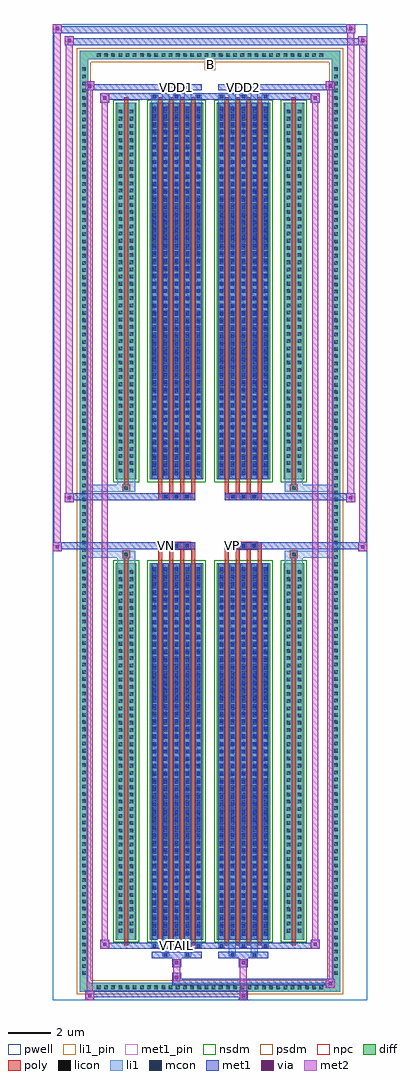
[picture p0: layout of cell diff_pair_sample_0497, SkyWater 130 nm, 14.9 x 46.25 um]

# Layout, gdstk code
import gdstk
lib = gdstk.Library(unit=1e-6, precision=5e-09)
def R(c, l, rs):  # rectangles x0, y0, x1, y1
    for r in rs: c.add(gdstk.rectangle(r[:2], r[2:], *l))
def A(c, l, x, y, w, h, nx, ny, dx, dy):  # array of equal rectangles
    R(c, l, [(x+i*dx, y+j*dy, x+i*dx+w, y+j*dy+h) for i in range(nx) for j in range(ny)])
def P(c, l, *ps):  # polygons
    for p in ps: c.add(gdstk.Polygon(p, *l))
pwell = (64, 44)
diff = (65, 20)
poly = (66, 20)
licon = (66, 44)
li1_pin = (67, 16)
li1 = (67, 20)
mcon = (67, 44)
met1_pin = (68, 16)
met1 = (68, 20)
via = (68, 44)
met2 = (69, 20)
nsdm = (93, 44)
psdm = (94, 20)
npc = (95, 20)

diff_pair_sample_0497 = lib.new_cell('diff_pair_sample_0497')
R(diff_pair_sample_0497, pwell, [(-7.45,-22.69,7.45,23.56), (-4.77,-20.88,-0.01,-0.8), (0.01,-20.88,4.77,-0.8), (-4.77,0.8,-0.01,20.88), (0.01,0.8,4.77,20.88)])
A(diff_pair_sample_0497, diff, -5.475, -22.29, 0.41, 0.41, 32, 2, 0.34, 44.17)
A(diff_pair_sample_0497, diff, -6.18, -21.625, 0.41, 0.41, 1, 127, 0, 0.34)
A(diff_pair_sample_0497, diff, 5.77, -21.625, 0.41, 0.41, 1, 127, 0, 0.34)
R(diff_pair_sample_0497, diff, [(-5.475,-22.29,5.475,-21.88), (-6.18,-21.625,-5.77,21.625), (5.77,-21.625,6.18,21.625), (-4.46,-19.835,-3.49,-1.985), (-2.85,-19.835,-0.32,-1.985), (0.32,-19.835,2.85,-1.985), (3.49,-19.835,4.46,-1.985), (-4.46,1.985,-3.49,19.835), (-2.85,1.985,-0.32,19.835), (0.32,1.985,2.85,19.835), (3.49,1.985,4.46,19.835), (-5.475,21.88,5.475,22.29)])
P(diff_pair_sample_0497, diff, [(6.18,22.29),(-6.18,22.29),(-6.18,-21.88),(-5.77,-21.88),(-5.77,21.88),(5.77,21.88),(5.77,-21.88),(-5.77,-21.88),(-6.18,-21.88),(-6.18,-22.29),(6.18,-22.29)])
A(diff_pair_sample_0497, poly, -2.46, -20.085, 0.19, 18.35, 4, 2, 0.52, 21.82)
A(diff_pair_sample_0497, poly, 0.71, -20.085, 0.19, 18.35, 4, 2, 0.52, 21.82)
A(diff_pair_sample_0497, poly, -2.46, -1.735, 0.19, 0.405, 4, 2, 0.52, 3.065)
A(diff_pair_sample_0497, poly, 0.71, -1.735, 0.19, 0.405, 4, 2, 0.52, 3.065)
A(diff_pair_sample_0497, poly, -2.25, -1.33, 0.33, 0.33, 3, 2, 0.5, 2.33)
A(diff_pair_sample_0497, poly, 0.92, -1.33, 0.33, 0.33, 3, 2, 0.5, 2.33)
R(diff_pair_sample_0497, poly, [(-4.07,-20.085,-3.88,-1.735), (3.88,-20.085,4.07,-1.735), (-4.14,-1.735,-3.81,-1.405), (-4.14,-1.735,-3.81,-1.405), (3.81,-1.735,4.14,-1.405), (3.81,-1.735,4.14,-1.405), (-2.46,-1.33,-0.71,-1), (0.71,-1.33,2.46,-1), (-2.46,1,-0.71,1.33), (0.71,1,2.46,1.33), (-4.14,1.405,-3.81,1.735), (-4.14,1.405,-3.81,1.735), (3.81,1.405,4.14,1.735), (3.81,1.405,4.14,1.735), (-4.07,1.735,-3.88,20.085), (3.88,1.735,4.07,20.085)])
A(diff_pair_sample_0497, licon, -5.355, -22.17, 0.17, 0.17, 32, 2, 0.34, 44.17)
A(diff_pair_sample_0497, licon, -6.06, -21.505, 0.17, 0.17, 1, 127, 0, 0.34)
A(diff_pair_sample_0497, licon, 5.89, -21.505, 0.17, 0.17, 1, 127, 0, 0.34)
A(diff_pair_sample_0497, licon, -4.32, -19.495, 0.17, 0.17, 1, 51, 0, 0.34)
A(diff_pair_sample_0497, licon, -3.8, -19.495, 0.17, 0.17, 1, 51, 0, 0.34)
A(diff_pair_sample_0497, licon, -2.71, -19.495, 0.17, 0.17, 5, 51, 0.52, 0.34)
A(diff_pair_sample_0497, licon, 0.46, -19.495, 0.17, 0.17, 5, 51, 0.52, 0.34)
A(diff_pair_sample_0497, licon, 3.63, -19.495, 0.17, 0.17, 1, 51, 0, 0.34)
A(diff_pair_sample_0497, licon, 4.15, -19.495, 0.17, 0.17, 1, 51, 0, 0.34)
A(diff_pair_sample_0497, licon, -2.17, -1.25, 0.17, 0.17, 3, 2, 0.5, 2.33)
A(diff_pair_sample_0497, licon, 1, -1.25, 0.17, 0.17, 3, 2, 0.5, 2.33)
A(diff_pair_sample_0497, licon, -4.32, 2.325, 0.17, 0.17, 1, 51, 0, 0.34)
A(diff_pair_sample_0497, licon, -3.8, 2.325, 0.17, 0.17, 1, 51, 0, 0.34)
A(diff_pair_sample_0497, licon, -2.71, 2.325, 0.17, 0.17, 5, 51, 0.52, 0.34)
A(diff_pair_sample_0497, licon, 0.46, 2.325, 0.17, 0.17, 5, 51, 0.52, 0.34)
A(diff_pair_sample_0497, licon, 3.63, 2.325, 0.17, 0.17, 1, 51, 0, 0.34)
A(diff_pair_sample_0497, licon, 4.15, 2.325, 0.17, 0.17, 1, 51, 0, 0.34)
R(diff_pair_sample_0497, licon, [(-4.06,-1.655,-3.89,-1.485), (3.89,-1.655,4.06,-1.485), (-4.06,1.485,-3.89,1.655), (3.89,1.485,4.06,1.655)])
R(diff_pair_sample_0497, li1_pin, [(-0.25,21.38,0.25,21.88)])
A(diff_pair_sample_0497, li1, -5.435, -22.25, 0.33, 0.33, 32, 2, 0.34, 44.17)
A(diff_pair_sample_0497, li1, -6.14, -21.585, 0.33, 0.33, 1, 127, 0, 0.34)
A(diff_pair_sample_0497, li1, 5.81, -21.585, 0.33, 0.33, 1, 127, 0, 0.34)
A(diff_pair_sample_0497, li1, -2.79, -20.21, 0.33, 0.375, 3, 2, 1.04, 40.045)
A(diff_pair_sample_0497, li1, -2.71, -20.21, 0.17, 0.17, 3, 2, 1.04, 40.25)
A(diff_pair_sample_0497, li1, 0.38, -20.21, 0.33, 0.375, 3, 2, 1.04, 40.045)
A(diff_pair_sample_0497, li1, 0.46, -20.21, 0.17, 0.17, 3, 2, 1.04, 40.25)
A(diff_pair_sample_0497, li1, -2.79, -19.835, 0.33, 17.85, 5, 2, 0.52, 21.82)
A(diff_pair_sample_0497, li1, 0.38, -19.835, 0.33, 17.85, 5, 2, 0.52, 21.82)
A(diff_pair_sample_0497, li1, -2.71, -19.635, 0.17, 0.17, 5, 49, 0.52, 0.36)
A(diff_pair_sample_0497, li1, -2.71, -19.635, 0.17, 17.45, 5, 2, 0.52, 21.82)
A(diff_pair_sample_0497, li1, 0.46, -19.635, 0.17, 0.17, 5, 49, 0.52, 0.36)
A(diff_pair_sample_0497, li1, 0.46, -19.635, 0.17, 17.45, 5, 2, 0.52, 21.82)
A(diff_pair_sample_0497, li1, -4.4, -19.575, 0.33, 0.33, 1, 51, 0, 0.34)
A(diff_pair_sample_0497, li1, -3.88, -19.575, 0.33, 0.33, 1, 51, 0, 0.34)
A(diff_pair_sample_0497, li1, -2.79, -19.575, 0.33, 0.33, 5, 51, 0.52, 0.34)
A(diff_pair_sample_0497, li1, 0.38, -19.575, 0.33, 0.33, 5, 51, 0.52, 0.34)
A(diff_pair_sample_0497, li1, 3.55, -19.575, 0.33, 0.33, 1, 51, 0, 0.34)
A(diff_pair_sample_0497, li1, 4.07, -19.575, 0.33, 0.33, 1, 51, 0, 0.34)
A(diff_pair_sample_0497, li1, -2.25, -1.33, 0.33, 0.33, 3, 2, 0.5, 2.33)
A(diff_pair_sample_0497, li1, 0.92, -1.33, 0.33, 0.33, 3, 2, 0.5, 2.33)
A(diff_pair_sample_0497, li1, -2.71, 2.185, 0.17, 0.17, 5, 49, 0.52, 0.36)
A(diff_pair_sample_0497, li1, 0.46, 2.185, 0.17, 0.17, 5, 49, 0.52, 0.36)
A(diff_pair_sample_0497, li1, -4.4, 2.245, 0.33, 0.33, 1, 51, 0, 0.34)
A(diff_pair_sample_0497, li1, -3.88, 2.245, 0.33, 0.33, 1, 51, 0, 0.34)
A(diff_pair_sample_0497, li1, -2.79, 2.245, 0.33, 0.33, 5, 51, 0.52, 0.34)
A(diff_pair_sample_0497, li1, 0.38, 2.245, 0.33, 0.33, 5, 51, 0.52, 0.34)
A(diff_pair_sample_0497, li1, 3.55, 2.245, 0.33, 0.33, 1, 51, 0, 0.34)
A(diff_pair_sample_0497, li1, 4.07, 2.245, 0.33, 0.33, 1, 51, 0, 0.34)
R(diff_pair_sample_0497, li1, [(-6.18,-22.29,-5.77,-21.88), (-6.18,-22.29,-5.77,-21.88), (-5.77,-22.29,5.77,-21.88), (5.77,-22.29,6.18,-21.88), (5.77,-22.29,6.18,-21.88), (-6.18,-21.88,-5.77,21.88), (5.77,-21.88,6.18,21.88), (-2.27,-20.64,-1.94,-19.835), (-2.19,-20.64,-2.02,-20.47), (-1.23,-20.64,-0.9,-19.835), (-1.15,-20.64,-0.98,-20.47), (0.9,-20.64,1.23,-19.835), (0.98,-20.64,1.15,-20.47), (1.94,-20.64,2.27,-19.835), (2.02,-20.64,2.19,-20.47), (-4.4,-19.835,-4.07,-1.985), (-3.88,-19.835,-3.55,-1.985), (3.55,-19.835,3.88,-1.985), (4.07,-19.835,4.4,-1.985), (-4.4,-1.985,-4.07,-1.405), (-3.88,-1.985,-3.55,-1.405), (3.55,-1.985,3.88,-1.405), (4.07,-1.985,4.4,-1.405), (-6.18,-1.735,-4.14,-1.405), (-4.4,-1.735,-4.14,-1.405), (-4.14,-1.735,-3.81,-1.405), (-3.81,-1.735,-3.55,-1.405), (3.55,-1.735,3.81,-1.405), (3.81,-1.735,4.14,-1.405), (3.81,-1.735,6.18,-1.405), (4.14,-1.735,4.4,-1.405), (-6.18,1.405,-4.14,1.735), (-4.4,1.405,-4.14,1.735), (-4.4,1.405,-4.07,1.985), (-4.14,1.405,-3.81,1.735), (-3.88,1.405,-3.55,1.985), (-3.81,1.405,-3.55,1.735), (3.55,1.405,3.81,1.735), (3.55,1.405,3.88,1.985), (3.81,1.405,4.14,1.735), (3.81,1.405,6.18,1.735), (4.07,1.405,4.4,1.985), (4.14,1.405,4.4,1.735), (-4.4,1.985,-4.07,19.835), (-3.88,1.985,-3.55,19.835), (3.55,1.985,3.88,19.835), (4.07,1.985,4.4,19.835), (-2.27,19.835,-1.94,20.64), (-1.23,19.835,-0.9,20.64), (0.9,19.835,1.23,20.64), (1.94,19.835,2.27,20.64), (-2.19,20.47,-2.02,20.64), (-1.15,20.47,-0.98,20.64), (0.98,20.47,1.15,20.64), (2.02,20.47,2.19,20.64), (-6.18,21.88,-5.77,22.29), (-6.18,21.88,-5.77,22.29), (-5.77,21.88,5.77,22.29), (5.77,21.88,6.18,22.29), (5.77,21.88,6.18,22.29)])
A(diff_pair_sample_0497, mcon, -2.71, -20.21, 0.17, 0.17, 3, 2, 1.04, 40.25)
A(diff_pair_sample_0497, mcon, 0.46, -20.21, 0.17, 0.17, 3, 2, 1.04, 40.25)
A(diff_pair_sample_0497, mcon, -2.71, -19.635, 0.17, 0.17, 5, 49, 0.52, 0.36)
A(diff_pair_sample_0497, mcon, 0.46, -19.635, 0.17, 0.17, 5, 49, 0.52, 0.36)
A(diff_pair_sample_0497, mcon, -2.17, -1.25, 0.17, 0.17, 3, 2, 0.5, 2.33)
A(diff_pair_sample_0497, mcon, 1, -1.25, 0.17, 0.17, 3, 2, 0.5, 2.33)
A(diff_pair_sample_0497, mcon, -2.71, 2.185, 0.17, 0.17, 5, 49, 0.52, 0.36)
A(diff_pair_sample_0497, mcon, 0.46, 2.185, 0.17, 0.17, 5, 49, 0.52, 0.36)
R(diff_pair_sample_0497, mcon, [(-2.19,-20.64,-2.02,-20.47), (-1.15,-20.64,-0.98,-20.47), (0.98,-20.64,1.15,-20.47), (2.02,-20.64,2.19,-20.47), (-2.19,20.47,-2.02,20.64), (-1.15,20.47,-0.98,20.64), (0.98,20.47,1.15,20.64), (2.02,20.47,2.19,20.64)])
R(diff_pair_sample_0497, met1_pin, [(-1.72,-20.25,-1.45,-19.98), (-2.22,-1.29,-1.95,-1.02), (0.95,-1.29,1.22,-1.02), (-1.72,20.43,-1.45,20.7), (1.45,20.43,1.72,20.7)])
A(diff_pair_sample_0497, met1, -2.77, -20.27, 0.29, 0.29, 3, 2, 1.04, 40.25)
A(diff_pair_sample_0497, met1, 0.4, -20.27, 0.29, 0.29, 3, 2, 1.04, 40.25)
A(diff_pair_sample_0497, met1, -2.77, -19.835, 0.29, 17.85, 5, 2, 0.52, 21.82)
A(diff_pair_sample_0497, met1, 0.4, -19.835, 0.29, 17.85, 5, 2, 0.52, 21.82)
A(diff_pair_sample_0497, met1, -2.77, -19.695, 0.29, 0.29, 5, 49, 0.52, 0.36)
A(diff_pair_sample_0497, met1, 0.4, -19.695, 0.29, 0.29, 5, 49, 0.52, 0.36)
A(diff_pair_sample_0497, met1, -2.23, -1.31, 0.29, 0.29, 3, 2, 0.5, 2.33)
A(diff_pair_sample_0497, met1, 0.94, -1.31, 0.29, 0.29, 3, 2, 0.5, 2.33)
A(diff_pair_sample_0497, met1, -2.77, 2.125, 0.29, 0.29, 5, 49, 0.52, 0.36)
A(diff_pair_sample_0497, met1, 0.4, 2.125, 0.29, 0.29, 5, 49, 0.52, 0.36)
R(diff_pair_sample_0497, met1, [(-5.91,-22.69,-5.48,-22.26), (1.37,-22.69,1.8,-22.26), (-5.91,-22.55,1.8,-22.26), (5.48,-22.12,5.91,-21.69), (-1.8,-21.98,5.91,-21.69), (-1.8,-21.84,-1.37,-21.41), (-1.8,-21.13,-1.37,-20.7), (1.37,-21.13,1.8,-20.7), (-2.77,-20.7,-0.4,-20.41), (-2.25,-20.7,-1.96,-20.41), (-1.21,-20.7,-0.92,-20.41), (0.4,-20.7,2.77,-20.41), (0.92,-20.7,1.21,-20.41), (1.96,-20.7,2.25,-20.41), (-5.2,-20.27,-4.77,-19.84), (-5.2,-20.27,-2.77,-19.98), (-2.77,-20.27,-0.4,-19.98), (-0.4,-20.27,0.4,-19.98), (0.4,-20.27,2.77,-19.98), (2.77,-20.27,5.2,-19.98), (4.77,-20.27,5.2,-19.84), (-7.45,-1.43,-7.02,-1), (7.02,-1.43,7.45,-1), (-7.45,-1.33,-0.71,-1), (-2.46,-1.33,-0.71,-1), (0.71,-1.33,2.46,-1), (0.71,-1.33,7.45,-1), (-6.88,0.9,-6.45,1.33), (6.45,0.9,6.88,1.33), (-6.88,1,-2.46,1.33), (-2.46,1,-0.71,1.33), (0.71,1,2.46,1.33), (2.46,1,6.88,1.33), (-5.2,19.84,-4.77,20.27), (4.77,19.84,5.2,20.27), (-5.2,19.98,-2.77,20.27), (-2.77,19.98,-0.4,20.27), (-0.4,19.98,0.4,20.27), (0.4,19.98,2.77,20.27), (2.77,19.98,5.2,20.27), (-5.91,20.41,-5.48,20.84), (-5.91,20.41,-2.77,20.7), (-2.77,20.41,-0.4,20.7), (-2.25,20.41,-1.96,20.7), (-1.21,20.41,-0.92,20.7), (0.4,20.41,2.77,20.7), (0.92,20.41,1.21,20.7), (1.96,20.41,2.25,20.7), (2.77,20.41,5.91,20.7), (5.48,20.41,5.91,20.84), (-6.88,22.56,-6.45,22.99), (-6.88,22.56,-4.77,22.89), (-4.77,22.56,4.77,22.89), (4.77,22.56,7.45,22.89), (7.02,22.56,7.45,22.99), (-7.45,23.13,-7.02,23.56), (-7.45,23.13,-4.77,23.46), (-4.77,23.13,4.77,23.46), (4.77,23.13,6.88,23.46), (6.45,23.13,6.88,23.56)])
R(diff_pair_sample_0497, via, [(-5.77,-22.55,-5.62,-22.4), (1.51,-22.55,1.66,-22.4), (5.62,-21.98,5.77,-21.83), (-1.66,-21.7,-1.51,-21.55), (-1.66,-20.99,-1.51,-20.84), (1.51,-20.99,1.66,-20.84), (-5.06,-20.13,-4.91,-19.98), (4.91,-20.13,5.06,-19.98), (-7.31,-1.29,-7.16,-1.14), (7.16,-1.29,7.31,-1.14), (-6.74,1.04,-6.59,1.19), (6.59,1.04,6.74,1.19), (-5.06,19.98,-4.91,20.13), (4.91,19.98,5.06,20.13), (-5.77,20.55,-5.62,20.7), (5.62,20.55,5.77,20.7), (-6.74,22.7,-6.59,22.85), (7.16,22.7,7.31,22.85), (-7.31,23.27,-7.16,23.42), (6.59,23.27,6.74,23.42)])
R(diff_pair_sample_0497, met2, [(-5.91,-22.69,-5.48,-22.26), (-5.84,-22.69,-5.55,20.84), (-5.55,-22.69,-5.48,-22.26), (-5.86,-22.64,-5.53,-22.31), (1.42,-22.64,1.75,-22.31), (1.42,-22.31,1.75,-21.08), (5.48,-22.12,5.91,-21.69), (5.55,-22.12,5.84,20.84), (5.84,-22.12,5.91,-21.69), (5.53,-22.07,5.86,-21.74), (-1.75,-21.79,-1.42,-21.46), (-1.75,-21.46,-1.42,-21.08), (-1.75,-21.08,-1.42,-20.75), (1.42,-21.08,1.75,-20.75), (-5.2,-20.27,-4.77,-19.84), (-5.13,-20.27,-4.84,20.27), (-4.84,-20.27,-4.77,-19.84), (4.77,-20.27,5.2,-19.84), (4.84,-20.27,5.13,20.27), (5.13,-20.27,5.2,-19.84), (-5.15,-20.22,-4.82,-19.89), (4.82,-20.22,5.15,-19.89), (-7.45,-1.43,-7.02,-1), (-7.4,-1.43,-7.07,23.56), (-7.07,-1.43,-7.02,-1), (7.02,-1.43,7.45,-1), (7.07,-1.43,7.4,22.99), (7.4,-1.43,7.45,-1), (-7.4,-1.38,-7.07,-1.05), (7.07,-1.38,7.4,-1.05), (-6.88,0.9,-6.45,1.33), (-6.83,0.9,-6.5,22.99), (-6.5,0.9,-6.45,1.33), (6.45,0.9,6.88,1.33), (6.5,0.9,6.83,23.56), (6.83,0.9,6.88,1.33), (-6.83,0.95,-6.5,1.28), (6.5,0.95,6.83,1.28), (-5.2,19.84,-4.77,20.27), (-4.84,19.84,-4.77,20.27), (4.77,19.84,5.2,20.27), (5.13,19.84,5.2,20.27), (-5.15,19.89,-4.82,20.22), (4.82,19.89,5.15,20.22), (-5.91,20.41,-5.48,20.84), (-5.55,20.41,-5.48,20.84), (5.48,20.41,5.91,20.84), (5.84,20.41,5.91,20.84), (-5.86,20.46,-5.53,20.79), (5.53,20.46,5.86,20.79), (-6.88,22.56,-6.45,22.99), (-6.5,22.56,-6.45,22.99), (7.02,22.56,7.45,22.99), (7.4,22.56,7.45,22.99), (-6.83,22.61,-6.5,22.94), (7.07,22.61,7.4,22.94), (-7.45,23.13,-7.02,23.56), (-7.07,23.13,-7.02,23.56), (6.45,23.13,6.88,23.56), (6.83,23.13,6.88,23.56), (-7.4,23.18,-7.07,23.51), (6.5,23.18,6.83,23.51)])
R(diff_pair_sample_0497, nsdm, [(-4.59,-19.965,-3.36,-1.855), (-2.98,-19.965,-0.19,-1.855), (0.19,-19.965,2.98,-1.855), (3.36,-19.965,4.59,-1.855), (-4.59,1.855,-3.36,19.965), (-2.98,1.855,-0.19,19.965), (0.19,1.855,2.98,19.965), (3.36,1.855,4.59,19.965)])
P(diff_pair_sample_0497, psdm, [(6.31,22.42),(-6.31,22.42),(-6.31,-21.75),(-5.64,-21.75),(-5.64,21.75),(5.64,21.75),(5.64,-21.75),(-5.64,-21.75),(-6.31,-21.75),(-6.31,-22.42),(6.31,-22.42)])
A(diff_pair_sample_0497, npc, -2.27, -1.35, 0.37, 0.37, 3, 2, 0.5, 2.33)
A(diff_pair_sample_0497, npc, 0.9, -1.35, 0.37, 0.37, 3, 2, 0.5, 2.33)
R(diff_pair_sample_0497, npc, [(-4.16,-1.755,-3.79,-1.385), (3.79,-1.755,4.16,-1.385), (-2.27,-1.35,-1.4,-0.98), (-2.27,-1.35,-1.4,-0.98), (-1.77,-1.35,-0.9,-0.98), (-1.77,-1.35,-0.9,-0.98), (0.9,-1.35,1.77,-0.98), (0.9,-1.35,1.77,-0.98), (1.4,-1.35,2.27,-0.98), (1.4,-1.35,2.27,-0.98), (-2.27,0.98,-1.4,1.35), (-2.27,0.98,-1.4,1.35), (-1.77,0.98,-0.9,1.35), (-1.77,0.98,-0.9,1.35), (0.9,0.98,1.77,1.35), (0.9,0.98,1.77,1.35), (1.4,0.98,2.27,1.35), (1.4,0.98,2.27,1.35), (-4.16,1.385,-3.79,1.755), (3.79,1.385,4.16,1.755)])
diff_pair_sample_0497.add(gdstk.Label('VTAIL', (-1.585,-20.115), layer=68, texttype=5))
diff_pair_sample_0497.add(gdstk.Label('VN', (-2.085,-1.155), layer=68, texttype=5))
diff_pair_sample_0497.add(gdstk.Label('VP', (1.085,-1.155), layer=68, texttype=5))
diff_pair_sample_0497.add(gdstk.Label('B', (0,21.63), layer=67, texttype=5))
diff_pair_sample_0497.add(gdstk.Label('VDD2', (1.585,20.565), layer=68, texttype=5))
diff_pair_sample_0497.add(gdstk.Label('VDD1', (-1.585,20.565), layer=68, texttype=5))

lib.write_gds('diff_pair_sample_0497.gds')
